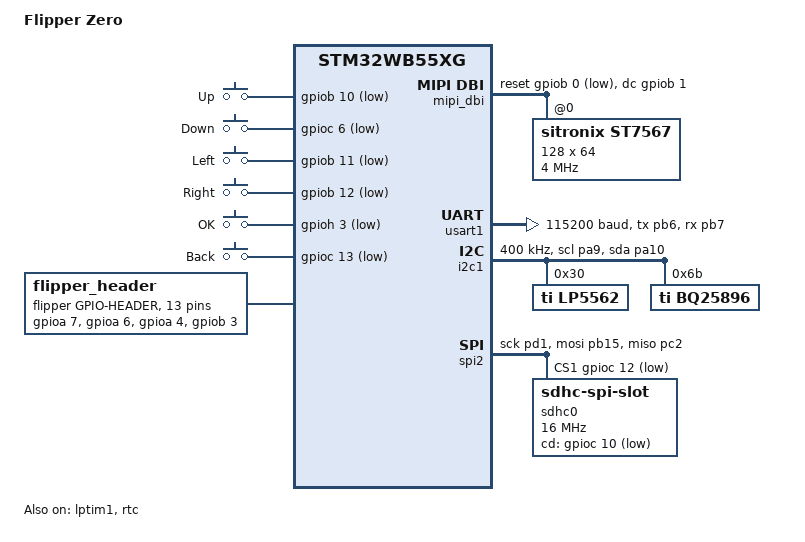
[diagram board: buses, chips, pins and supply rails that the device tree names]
/*
 * SPDX-FileCopyrightText: Copyright The Zephyr Project Contributors
 * SPDX-License-Identifier: Apache-2.0
 */

/dts-v1/;
#include <st/wb/stm32wb55Xg.dtsi>
#include <st/wb/stm32wb55rgvx-pinctrl.dtsi>
#include <zephyr/dt-bindings/input/input-event-codes.h>
#include <zephyr/dt-bindings/mipi_dbi/mipi_dbi.h>

/ {
	compatible = "flipper,flipper-zero";
	model = "Flipper Zero";

	chosen {
		zephyr,console = &usart1;
		zephyr,shell-uart = &usart1;
		zephyr,sram = &sram0;
		zephyr,flash = &flash0;
		zephyr,system-timer = &lptim1;
		zephyr,display = &st7567;
	};

	gpio_keys {
		compatible = "gpio-keys";

		button_up: button_up {
			label = "Up";
			gpios = <&gpiob 10 (GPIO_ACTIVE_LOW | GPIO_PULL_UP)>;
			zephyr,code = <INPUT_KEY_UP>;
		};

		button_down: button_down {
			label = "Down";
			gpios = <&gpioc 6 (GPIO_ACTIVE_LOW | GPIO_PULL_UP)>;
			zephyr,code = <INPUT_KEY_DOWN>;
		};

		button_left: button_left {
			label = "Left";
			gpios = <&gpiob 11 (GPIO_ACTIVE_LOW | GPIO_PULL_UP)>;
			zephyr,code = <INPUT_KEY_LEFT>;
		};

		button_right: button_right {
			label = "Right";
			gpios = <&gpiob 12 (GPIO_ACTIVE_LOW | GPIO_PULL_UP)>;
			zephyr,code = <INPUT_KEY_RIGHT>;
		};

		button_ok: button_ok {
			label = "OK";
			gpios = <&gpioh 3 (GPIO_ACTIVE_LOW | GPIO_PULL_UP)>;
			zephyr,code = <INPUT_KEY_ENTER>;
		};

		button_back: button_back {
			label = "Back";
			gpios = <&gpioc 13 (GPIO_ACTIVE_LOW | GPIO_PULL_UP)>;
			zephyr,code = <INPUT_KEY_BACK>;
		};
	};

	flipper_header: connector {
		compatible = "flipper,gpio-header";
		#gpio-cells = <2>;
		gpio-map-mask = <0xffffffff 0xffffffc0>;
		gpio-map-pass-thru = <0 0x3f>;
		gpio-map = <2 0 &gpioa 7 0>,	/* PA7 */
			   <3 0 &gpioa 6 0>,	/* PA6 */
			   <4 0 &gpioa 4 0>,	/* PA4 */
			   <5 0 &gpiob 3 0>,	/* PB3 */
			   <6 0 &gpiob 2 0>,	/* PB2 */
			   <7 0 &gpioc 3 0>,	/* PC3 */
			   <10 0 &gpioa 14 0>,	/* PA14, SWCLK */
			   <12 0 &gpioa 13 0>,	/* PA13, SWDIO */
			   <13 0 &gpiob 6 0>,	/* PB6, USART1 TX */
			   <14 0 &gpiob 7 0>,	/* PB7, USART1 RX */
			   <15 0 &gpioc 1 0>,	/* PC1 */
			   <16 0 &gpioc 0 0>,	/* PC0 */
			   <17 0 &gpiob 14 0>;	/* PB14, 1-Wire */
	};

	mipi_dbi {
		compatible = "zephyr,mipi-dbi-spi";
		spi-dev = <&spi2>;
		dc-gpios = <&gpiob 1 GPIO_ACTIVE_HIGH>;
		reset-gpios = <&gpiob 0 GPIO_ACTIVE_LOW>;
		write-only;
		#address-cells = <1>;
		#size-cells = <0>;

		st7567: st7567@0 {
			compatible = "sitronix,st7567";
			reg = <0>;
			mipi-max-frequency = <DT_FREQ_M(4)>;
			mipi-mode = "MIPI_DBI_MODE_SPI_4WIRE";
			width = <128>;
			height = <64>;
			column-offset = <0>;
			line-offset = <0>;
			regulation-ratio = <5>;
			com-invdir;
		};
	};

	aliases {
		rtc = &rtc;
		sw0 = &button_ok;
	};
};

&clk_hse {
	status = "okay";
};

&clk_lse {
	status = "okay";
};

&clk_hsi48 {
	status = "okay";
};

&clk48 {
	clocks = <&rcc STM32_SRC_HSI48 CLK48_SEL(0)>;
};

&rcc {
	clocks = <&clk_hse>;
	clock-frequency = <DT_FREQ_M(32)>;
	cpu1-prescaler = <1>;
	cpu2-prescaler = <1>;
	ahb4-prescaler = <1>;
	apb1-prescaler = <1>;
	apb2-prescaler = <1>;
};

&lptim1 {
	clocks = <&rcc STM32_CLOCK(APB1, 31)>,
		 <&rcc STM32_SRC_LSE LPTIM1_SEL(3)>;
	status = "okay";
};

&rtc {
	clocks = <&rcc STM32_CLOCK(APB1, 10)>,
		 <&rcc STM32_SRC_LSE RTC_SEL(1)>;
	status = "okay";
};

/* GPIO header pins 13 (TX) and 14 (RX) */
&usart1 {
	pinctrl-0 = <&usart1_tx_pb6 &usart1_rx_pb7>;
	pinctrl-names = "default";
	current-speed = <115200>;
	status = "okay";
};

/* Power I2C bus */
&i2c1 {
	pinctrl-0 = <&i2c1_scl_pa9 &i2c1_sda_pa10>;
	pinctrl-names = "default";
	clock-frequency = <I2C_BITRATE_FAST>;
	status = "okay";

	/* RGB LED (R, G, B) and display backlight (W) */
	lp5562: led-controller@30 {
		compatible = "ti,lp5562";
		reg = <0x30>;
		red-output-current = <50>;
		green-output-current = <50>;
		blue-output-current = <50>;
		white-output-current = <150>;
	};

	bq25896: charger@6b {
		compatible = "ti,bq25896";
		reg = <0x6b>;

		/* Reset defaults of the device, about 1C for the 2100 mAh battery */
		charger: charger {
			compatible = "ti,bq25896-charger";
			constant-charge-current-max-microamp = <2048000>;
			constant-charge-voltage-max-microvolt = <4208000>;
		};
	};
};

/* Display and SD card share this bus */
&spi2 {
	pinctrl-0 = <&spi2_sck_pd1 &spi2_mosi_pb15 &spi2_miso_pc2>;
	pinctrl-names = "default";
	cs-gpios = <&gpioc 11 GPIO_ACTIVE_LOW>,
		   <&gpioc 12 GPIO_ACTIVE_LOW>;
	status = "okay";

	sdhc0: sdhc@1 {
		compatible = "zephyr,sdhc-spi-slot";
		reg = <1>;
		spi-max-frequency = <DT_FREQ_M(16)>;
		cd-gpios = <&gpioc 10 (GPIO_ACTIVE_LOW | GPIO_PULL_UP)>;
		status = "okay";

		mmc {
			compatible = "zephyr,sdmmc-disk";
			disk-name = "SD";
			status = "okay";
		};
	};
};
